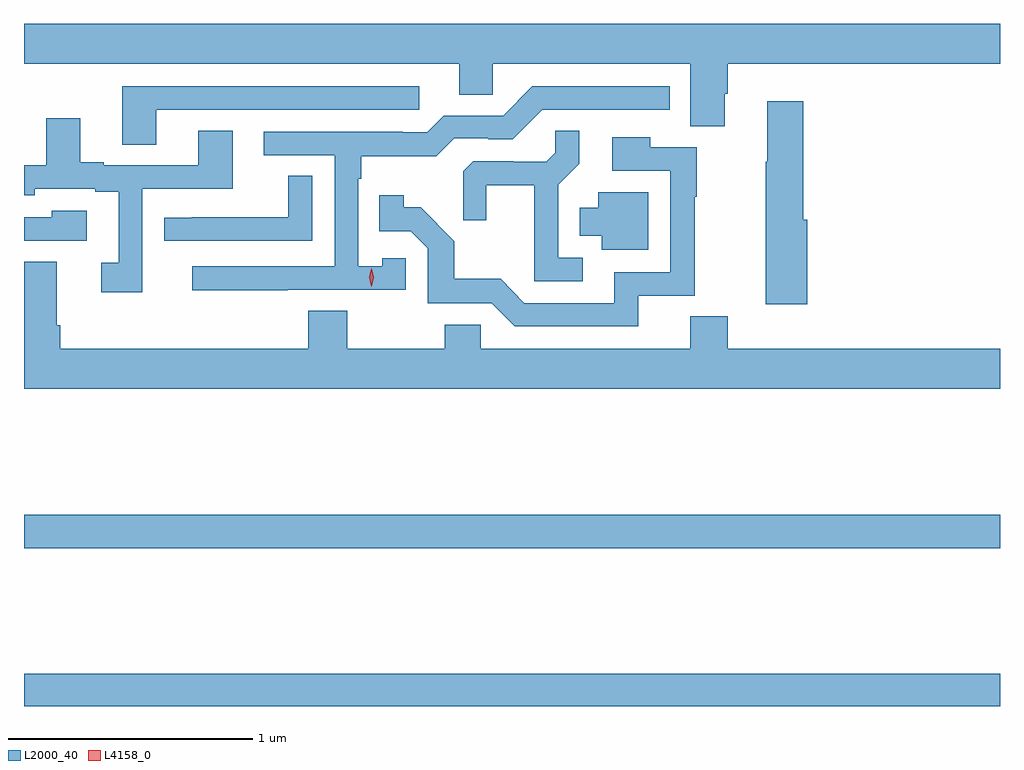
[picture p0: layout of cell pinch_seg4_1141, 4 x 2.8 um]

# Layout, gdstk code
import gdstk
lib = gdstk.Library(unit=1e-6, precision=1e-09)
def R(c, l, rs):  # rectangles x0, y0, x1, y1
    for r in rs: c.add(gdstk.rectangle(r[:2], r[2:], *l))
def P(c, l, *ps):  # polygons
    for p in ps: c.add(gdstk.Polygon(p, *l))
L2000_40 = (2000, 40)
L4158_0 = (4158, 0)

pinch_seg4_1141 = lib.new_cell('pinch_seg4_1141')
R(pinch_seg4_1141, L2000_40, [(458.23,748.9,462.23,749.032), (458.23,749.548,462.23,749.684)])
P(pinch_seg4_1141, L2000_40, [(461.101,751.41),(461.114,751.41),(461.114,751.532),(462.23,751.532),(462.23,751.696),(458.23,751.696),(458.23,751.532),(460.013,751.532),(460.013,751.405),(460.152,751.405),(460.152,751.532),(460.961,751.532),(460.961,751.276),(461.101,751.276)],
  [(458.773,751.344),(459.85,751.344),(459.85,751.44),(458.633,751.44),(458.633,751.201),(458.773,751.201)],
  [(459.311,750.606),(459.795,750.606),(459.795,750.735),(459.699,750.735),(459.699,750.703),(459.6,750.703),(459.6,751.061),(459.613,751.061),(459.613,751.154),(459.92,751.154),(459.993,751.227),(460.132,751.227),(460.132,751.224),(460.233,751.224),(460.353,751.344),(460.876,751.344),(460.876,751.44),(460.314,751.44),(460.194,751.32),(459.951,751.32),(459.882,751.251),(459.782,751.251),(459.782,751.254),(459.213,751.254),(459.213,751.158),(459.504,751.158),(459.504,750.702),(458.919,750.702),(458.919,750.604),(459.311,750.604)],
  [(461.441,750.894),(461.423,750.894),(461.423,751.378),(461.276,751.378),(461.276,751.13),(461.269,751.13),(461.269,750.894),(461.27,750.894),(461.27,750.546),(461.441,750.546)],
  [(458.715,751.02),(459.085,751.02),(459.085,751.259),(458.945,751.259),(458.945,751.116),(458.557,751.116),(458.557,751.129),(458.461,751.129),(458.461,751.309),(458.321,751.309),(458.321,751.116),(458.23,751.116),(458.23,750.993),(458.274,750.993),(458.274,751.02),(458.522,751.02),(458.522,751.008),(458.618,751.008),(458.618,750.717),(458.547,750.717),(458.547,750.597),(458.715,750.597)],
  [(460.519,750.738),(460.419,750.738),(460.419,751.037),(460.505,751.123),(460.505,751.259),(460.407,751.259),(460.407,751.168),(460.37,751.131),(460.236,751.131),(460.236,751.134),(460.071,751.134),(460.03,751.093),(460.03,750.891),(460.124,750.891),(460.124,751.034),(460.322,751.034),(460.322,750.642),(460.519,750.642)],
  [(460.748,750.582),(460.979,750.582),(460.979,750.988),(460.987,750.988),(460.987,751.191),(460.797,751.191),(460.797,751.231),(460.641,751.231),(460.641,751.095),(460.878,751.095),(460.878,750.678),(460.649,750.678),(460.649,750.552),(460.281,750.552),(460.183,750.651),(459.994,750.651),(459.994,750.806),(459.856,750.944),(459.786,750.944),(459.786,750.994),(459.685,750.994),(459.685,750.846),(459.816,750.846),(459.885,750.777),(459.885,750.552),(460.146,750.552),(460.242,750.456),(460.748,750.456)],
  [(459.411,751.073),(459.313,751.073),(459.313,750.903),(458.917,750.903),(458.917,750.902),(458.805,750.902),(458.805,750.807),(459.411,750.807)],
  [(460.789,751.006),(460.583,751.006),(460.583,750.943),(460.508,750.943),(460.508,750.827),(460.598,750.827),(460.598,750.77),(460.789,750.77)],
  [(458.488,750.931),(458.343,750.931),(458.343,750.903),(458.23,750.903),(458.23,750.807),(458.488,750.807)],
  [(462.23,750.364),(461.114,750.364),(461.114,750.497),(460.961,750.497),(460.961,750.364),(460.101,750.364),(460.101,750.462),(459.955,750.462),(459.955,750.364),(459.555,750.364),(459.555,750.521),(459.395,750.521),(459.395,750.364),(458.378,750.364),(458.378,750.46),(458.365,750.46),(458.365,750.721),(458.23,750.721),(458.23,750.2),(462.23,750.2)])
P(pinch_seg4_1141, L4158_0, [(459.654,750.621),(459.654,750.621),(459.644,750.657),(459.654,750.693),(459.654,750.693),(459.655,750.693),(459.664,750.657),(459.655,750.621)])

lib.write_gds('pinch_seg4_1141.gds')
